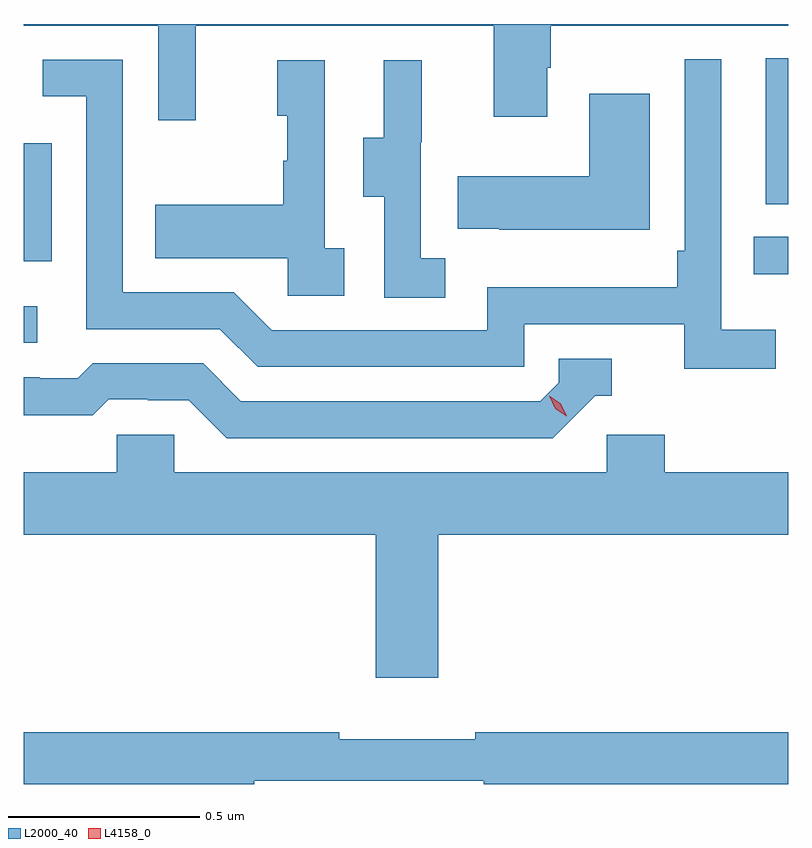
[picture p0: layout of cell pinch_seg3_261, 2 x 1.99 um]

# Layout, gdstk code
import gdstk
lib = gdstk.Library(unit=1e-6, precision=1e-09)
def R(c, l, rs):  # rectangles x0, y0, x1, y1
    for r in rs: c.add(gdstk.rectangle(r[:2], r[2:], *l))
def P(c, l, *ps):  # polygons
    for p in ps: c.add(gdstk.Polygon(p, *l))
L2000_40 = (2000, 40)
L4158_0 = (4158, 0)

pinch_seg3_261 = lib.new_cell('pinch_seg3_261')
R(pinch_seg3_261, L2000_40, [(895.355,725.394,895.39,725.49), (897.265,725.573,897.355,725.672), (895.355,725.607,895.428,725.916), (897.296,725.757,897.355,726.139)])
P(pinch_seg3_261, L2000_40, [(895.805,726.224),(896.585,726.224),(896.585,725.985),(896.725,725.985),(896.725,726.113),(896.733,726.113),(896.733,726.224),(897.355,726.224),(897.355,726.228),(895.355,726.228),(895.355,726.224),(895.707,726.224),(895.707,725.976),(895.805,725.976)],
  [(897.322,725.428),(897.18,725.428),(897.18,726.136),(897.084,726.136),(897.084,725.635),(897.064,725.635),(897.064,725.539),(896.568,725.539),(896.568,725.427),(896.004,725.427),(895.905,725.526),(895.614,725.526),(895.614,726.135),(895.405,726.135),(895.405,726.039),(895.518,726.039),(895.518,725.43),(895.868,725.43),(895.967,725.331),(896.664,725.331),(896.664,725.442),(897.083,725.442),(897.083,725.326),(897.322,725.326)],
  [(896.194,725.642),(896.142,725.642),(896.142,726.133),(896.018,726.133),(896.018,725.988),(896.044,725.988),(896.044,725.87),(896.034,725.87),(896.034,725.755),(895.699,725.755),(895.699,725.615),(896.046,725.615),(896.046,725.517),(896.194,725.517)],
  [(896.458,725.615),(896.394,725.615),(896.394,725.919),(896.396,725.919),(896.396,726.133),(896.297,726.133),(896.297,725.931),(896.243,725.931),(896.243,725.776),(896.298,725.776),(896.298,725.512),(896.458,725.512)],
  [(896.992,726.046),(896.834,726.046),(896.834,725.83),(896.491,725.83),(896.491,725.693),(896.599,725.693),(896.599,725.69),(896.992,725.69)],
  [(896.85,725.256),(896.893,725.256),(896.893,725.352),(896.754,725.352),(896.754,725.289),(896.706,725.241),(895.923,725.241),(895.824,725.34),(895.535,725.34),(895.496,725.301),(895.397,725.301),(895.397,725.304),(895.355,725.304),(895.355,725.205),(895.535,725.205),(895.577,725.247),(895.68,725.247),(895.68,725.244),(895.787,725.244),(895.886,725.145),(896.739,725.145)],
  [(896.44,724.892),(897.355,724.892),(897.355,725.056),(897.032,725.056),(897.032,725.154),(896.88,725.154),(896.88,725.056),(895.749,725.056),(895.749,725.154),(895.599,725.154),(895.599,725.056),(895.355,725.056),(895.355,724.892),(896.276,724.892),(896.276,724.518),(896.44,724.518)],
  [(895.958,724.248),(896.558,724.248),(896.558,724.24),(897.355,724.24),(897.355,724.376),(896.536,724.376),(896.536,724.357),(896.18,724.357),(896.18,724.376),(895.355,724.376),(895.355,724.24),(895.958,724.24)])
P(pinch_seg3_261, L4158_0, [(896.776,725.202),(896.746,725.222),(896.73,725.255),(896.73,725.255),(896.73,725.255),(896.76,725.235),(896.776,725.202),(896.776,725.202)])

lib.write_gds('pinch_seg3_261.gds')
